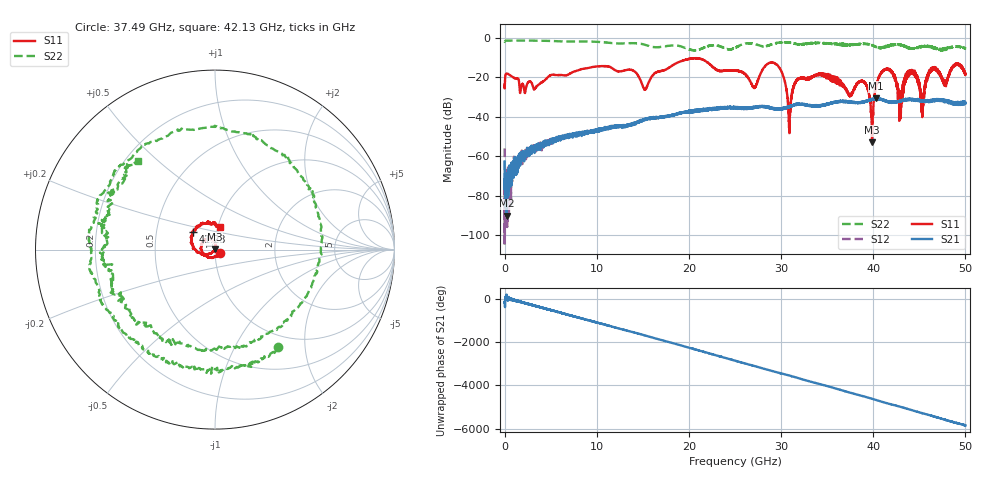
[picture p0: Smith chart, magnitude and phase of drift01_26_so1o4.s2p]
!Created with skrf (http://scikit-rf.org).
# Hz S RI R 50.0
!freq ReS11 ImS11 ReS21 ImS21 ReS12 ImS12 ReS22 ImS22
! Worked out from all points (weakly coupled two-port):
!   10001 points, 300 kHz to 50 GHz, reference 50 ohm
!   highest |S21| = -30.63 dB at 40.32 GHz (marker M1); lowest = -90.1 dB at 215.3 MHz (marker M2)
!   lowest |S11| = -52.9 dB at 39.87 GHz (marker M3), VSWR 1.00, Z = 49.8 + j0.0977 ohm
!   |S11| at or under -10 dB: start of sweep to end of sweep
!   |S22| runs from -6.5 to -1.4 dB; largest |S21 - S12| = 0.0034
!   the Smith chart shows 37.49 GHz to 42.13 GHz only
!   S11 on the Smith chart (normalised r, x): 37.49 GHz: 1.05, -0.04; 41.23 GHz: 0.77, +0.16; 42.13 GHz: 1.02, +0.26
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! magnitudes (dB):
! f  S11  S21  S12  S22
! 300 kHz  -23.7  -62.6  -55.9  -2.1
! 215.3 MHz  -18.1  -90.1  -76.9  -1.4
! 8.335 GHz  -15.9  -48.0  -48.2  -1.8
! 16.67 GHz  -17.1  -40.4  -40.2  -4.8
! 25 GHz  -16.6  -35.4  -35.5  -5.1
! 27.1 GHz  -25.4  -35.2  -35.3  -3.2
! 29.43 GHz  -13.2  -36.1  -35.9  -2.7
! 30.91 GHz  -44.9  -34.9  -34.9  -2.5
! 31.66 GHz  -21.6  -33.7  -33.8  -3.2
! 33.34 GHz  -19.9  -34.7  -34.1  -2.7
! 37.49 GHz  -29.4  -32.6  -32.8  -3.8
! 38.96 GHz  -22.1  -32.6  -32.5  -3.1
! 39.87 GHz  -52.9  -31.0  -31.2  -3.8
! 40.32 GHz  -24.6  -30.6  -30.9  -4.7
! 41.23 GHz  -16.0  -31.4  -31.8  -4.6
! 41.67 GHz  -16.0  -32.4  -32.4  -4.5
! 42.13 GHz  -17.9  -32.5  -32.6  -3.7
! 42.91 GHz  -34.4  -32.1  -32.0  -3.5
! 43.97 GHz  -17.5  -31.4  -31.2  -5.4
! 45.32 GHz  -36.2  -32.2  -31.8  -4.5
! 46.42 GHz  -15.7  -31.2  -31.7  -4.7
! 50 GHz  -18.2  -33.1  -33.1  -5.4
